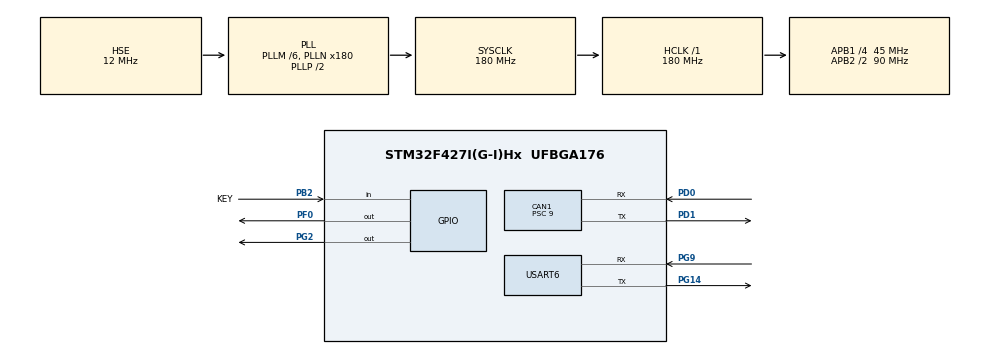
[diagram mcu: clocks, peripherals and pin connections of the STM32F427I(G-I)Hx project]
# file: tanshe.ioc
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CAN1.ABOM=DISABLE
CAN1.BS1=CAN_BS1_3TQ
CAN1.BS2=CAN_BS2_1TQ
CAN1.CalculateBaudRate=1000000
CAN1.CalculateTimeBit=1000
CAN1.CalculateTimeQuantum=200.0
CAN1.Prescaler=9
FREERTOS.Tasks01=defaultTask,24,128,StartDefaultTask,Default,NULL,Dynamic,NULL,NULL;rmctltask,24,128,RmctlTask,Default,NULL,Dynamic,NULL,NULL
Mcu.Family=STM32F4
Mcu.Name=STM32F427I(G-I)Hx
Mcu.Package=UFBGA176
NVIC.CAN1_RX0_IRQn=true\:5\:0\:true\:false\:true\:true\:true\:true\:true
NVIC.PriorityGroup=NVIC_PRIORITYGROUP_4
NVIC.TIM1_UP_TIM10_IRQn=true\:15\:0\:false\:false\:true\:false\:false\:true\:true
NVIC.TimeBase=TIM1_UP_TIM10_IRQn
NVIC.TimeBaseIP=TIM1
NVIC.USART6_IRQn=true\:5\:0\:false\:false\:true\:true\:true\:true\:true
PA13.Mode=Serial_Wire
PA13.Signal=SYS_JTMS-SWDIO
PA14.Mode=Serial_Wire
PA14.Signal=SYS_JTCK-SWCLK
PB2/BOOT1.GPIO_Label=KEY
PB2/BOOT1.Signal=GPIO_Input
PD0.Mode=CAN_Activate
PD0.Signal=CAN1_RX
PD1.Mode=CAN_Activate
PD1.Signal=CAN1_TX
PF0.GPIO_ModeDefaultOutputPP=GPIO_MODE_OUTPUT_PP
PF0.GPIO_PuPd=GPIO_PULLUP
PF0.Signal=GPIO_Output
PG14.Mode=Asynchronous
PG14.Signal=USART6_TX
PG2.Signal=GPIO_Output
PG9.Mode=Asynchronous
PG9.Signal=USART6_RX
PH0/OSC_IN.Mode=HSE-External-Oscillator
PH0/OSC_IN.Signal=RCC_OSC_IN
PH1/OSC_OUT.Mode=HSE-External-Oscillator
PH1/OSC_OUT.Signal=RCC_OSC_OUT
ProjectManager.HeapSize=0x200
ProjectManager.StackSize=0x400
ProjectManager.TargetToolchain=Makefile
RCC.48MHZClocksFreq_Value=90000000
RCC.AHBFreq_Value=180000000
RCC.APB1CLKDivider=RCC_HCLK_DIV4
RCC.APB1Freq_Value=45000000
RCC.APB1TimFreq_Value=90000000
RCC.APB2CLKDivider=RCC_HCLK_DIV2
RCC.APB2Freq_Value=90000000
RCC.APB2TimFreq_Value=180000000
RCC.CortexFreq_Value=180000000
RCC.HCLKFreq_Value=180000000
RCC.HSE_VALUE=12000000
RCC.HSI_VALUE=16000000
RCC.LSE_VALUE=32768
RCC.PLLM=6
RCC.PLLN=180
RCC.PLLSourceVirtual=RCC_PLLSOURCE_HSE
RCC.SYSCLKFreq_VALUE=180000000
RCC.SYSCLKSource=RCC_SYSCLKSOURCE_PLLCLK
RCC.VCOOutputFreq_Value=360000000
USART6.VirtualMode=VM_ASYNC
VP_FREERTOS_VS_CMSIS_V2.Mode=CMSIS_V2
VP_SYS_VS_tim1.Mode=TIM1
board=custom

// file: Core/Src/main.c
/* USER CODE BEGIN Header */
/**
  ******************************************************************************
  * @file           : main.c
  * @brief          : Main program body
  ******************************************************************************
  * @attention
  *
  * Copyright (c) 2024 STMicroelectronics.
  * All rights reserved.
  *
  * This software is licensed under terms that can be found in the LICENSE file
  * in the root directory of this software component.
  * If no LICENSE file comes with this software, it is provided AS-IS.
  *
  ******************************************************************************
  */
/* USER CODE END Header */
#include "main.h"
#include "cmsis_os.h"
#include "can.h"
#include "usart.h"
#include "gpio.h"

void SystemClock_Config(void);
void MX_FREERTOS_Init(void);

int main(void)
{

  /* MCU Configuration--------------------------------------------------------*/

  /* Reset of all peripherals, Initializes the Flash interface and the Systick. */
  HAL_Init();

  /* Configure the system clock */
  SystemClock_Config();

  /* Initialize all configured peripherals */
  MX_GPIO_Init();
  MX_CAN1_Init();
  MX_USART6_UART_Init();

  /* Init scheduler */
  osKernelInitialize();

  /* Call init function for freertos objects (in cmsis_os2.c) */
  MX_FREERTOS_Init();

  /* Start scheduler */
  osKernelStart();

  /* We should never get here as control is now taken by the scheduler */

  /* Infinite loop */
  while (1)
  {

  }
}

void SystemClock_Config(void)
{
  RCC_OscInitTypeDef RCC_OscInitStruct = {0};
  RCC_ClkInitTypeDef RCC_ClkInitStruct = {0};

  /** Configure the main internal regulator output voltage
  */
  __HAL_RCC_PWR_CLK_ENABLE();
  __HAL_PWR_VOLTAGESCALING_CONFIG(PWR_REGULATOR_VOLTAGE_SCALE1);

  /** Initializes the RCC Oscillators according to the specified parameters
  * in the RCC_OscInitTypeDef structure.
  */
  RCC_OscInitStruct.OscillatorType = RCC_OSCILLATORTYPE_HSE;
  RCC_OscInitStruct.HSEState = RCC_HSE_ON;
  RCC_OscInitStruct.PLL.PLLState = RCC_PLL_ON;
  RCC_OscInitStruct.PLL.PLLSource = RCC_PLLSOURCE_HSE;
  RCC_OscInitStruct.PLL.PLLM = 6;
  RCC_OscInitStruct.PLL.PLLN = 180;
  RCC_OscInitStruct.PLL.PLLP = RCC_PLLP_DIV2;
  RCC_OscInitStruct.PLL.PLLQ = 4;
  if (HAL_RCC_OscConfig(&RCC_OscInitStruct) != HAL_OK)
  {
    Error_Handler();
  }

  /** Activate the Over-Drive mode
  */
  if (HAL_PWREx_EnableOverDrive() != HAL_OK)
  {
    Error_Handler();
  }

  /** Initializes the CPU, AHB and APB buses clocks
  */
  RCC_ClkInitStruct.ClockType = RCC_CLOCKTYPE_HCLK|RCC_CLOCKTYPE_SYSCLK
                              |RCC_CLOCKTYPE_PCLK1|RCC_CLOCKTYPE_PCLK2;
  RCC_ClkInitStruct.SYSCLKSource = RCC_SYSCLKSOURCE_PLLCLK;
  RCC_ClkInitStruct.AHBCLKDivider = RCC_SYSCLK_DIV1;
  RCC_ClkInitStruct.APB1CLKDivider = RCC_HCLK_DIV4;
  RCC_ClkInitStruct.APB2CLKDivider = RCC_HCLK_DIV2;

  if (HAL_RCC_ClockConfig(&RCC_ClkInitStruct, FLASH_LATENCY_5) != HAL_OK)
  {
    Error_Handler();
  }
}

void HAL_TIM_PeriodElapsedCallback(TIM_HandleTypeDef *htim)
{
  if (htim->Instance == TIM1) {
    HAL_IncTick();
  }
}

void Error_Handler(void)
{
  __disable_irq();
  while (1)
  {
  }
}

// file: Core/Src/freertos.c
/* USER CODE BEGIN Header */
/**
 ******************************************************************************
 * File Name          : freertos.c
 * Description        : Code for freertos applications
 ******************************************************************************
 * @attention
 *
 * Copyright (c) 2024 STMicroelectronics.
 * All rights reserved.
 *
 * This software is licensed under terms that can be found in the LICENSE file
 * in the root directory of this software component.
 * If no LICENSE file comes with this software, it is provided AS-IS.
 *
 ******************************************************************************
 */
/* USER CODE END Header */

#include "FreeRTOS.h"
#include "task.h"
#include "main.h"
#include "cmsis_os.h"

/* USER CODE BEGIN Includes */
#include "DJI.h"
#include "Caculate.h"
#include "wtr_can.h"
#include "_startup.h"
#include "pop.h"
#include "rmctl.h"
/* USER CODE END Includes */

/* Definitions for defaultTask */
osThreadId_t defaultTaskHandle;
const osThreadAttr_t defaultTask_attributes = {
  .name = "defaultTask",
  .stack_size = 128 * 4,
  .priority = (osPriority_t) osPriorityNormal,
};
/* Definitions for rmctltask */
osThreadId_t rmctltaskHandle;
const osThreadAttr_t rmctltask_attributes = {
  .name = "rmctltask",
  .stack_size = 128 * 4,
  .priority = (osPriority_t) osPriorityNormal,
};

void StartDefaultTask(void *argument);
void RmctlTask(void *argument);

void MX_FREERTOS_Init(void); /* (MISRA C 2004 rule 8.1) */

void MX_FREERTOS_Init(void) {

  /* Create the thread(s) */
  /* creation of defaultTask */
  defaultTaskHandle = osThreadNew(StartDefaultTask, NULL, &defaultTask_attributes);

  /* creation of rmctltask */
  rmctltaskHandle = osThreadNew(RmctlTask, NULL, &rmctltask_attributes);

}

void StartDefaultTask(void *argument)
{
  /* USER CODE BEGIN StartDefaultTask */
    /* Infinite loop */
    PopInit(&pop);
    PopCorrect(&pop);
    int ledcnt = 0;
    float testdis = 0;
    for (;;) {
      PopCharge(&pop,testdis);
      PopExecutor(&pop);
      if (rmctl.rmctl_msg.btn_Btn1 == true)//蓄力
      {
        testdis += 4.0f;
        if (testdis >= 16500.0f)
        {
          testdis = 16500.0f;
        }
      }
      else if (rmctl.rmctl_msg.btn_Btn2 == true)//反蓄力
      {
        testdis -= 4.0f;
        if (testdis <= 0.0f)
        {
          testdis = 0.0f;
        }
      }
      if (rmctl.rmctl_msg.btn_Btn0 == true)
      {
        PopRelease(&pop);
        testdis = 0.0f;
      }
      //led
      ledcnt++;
      if (ledcnt >= 100)
      {
        ledcnt = 0;
        HAL_GPIO_TogglePin(GPIOG, GPIO_PIN_2);
      }
      osDelay(5);
    }
  /* USER CODE END StartDefaultTask */
}

void RmctlTask(void *argument)
{
  /* USER CODE BEGIN RmctlTask */
  /* Infinite loop */
  // __HAL_UART_ENABLE_IT(&huart6,UART_IT_RXNE);
  rmctl_Init(&rmctl);
  rmctl_decode(&rmctl.rmctl_msg);
  for(;;)
  {
    osDelay(1);
  }
  /* USER CODE END RmctlTask */
}
